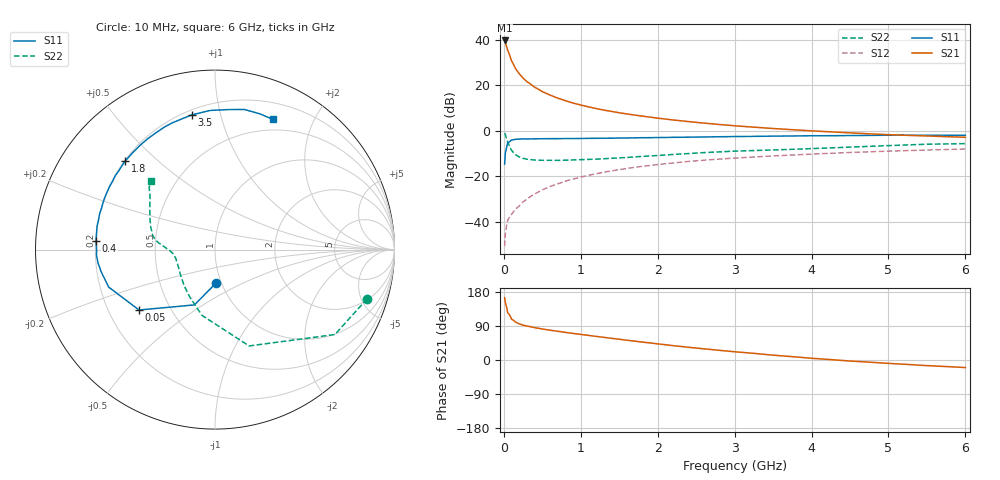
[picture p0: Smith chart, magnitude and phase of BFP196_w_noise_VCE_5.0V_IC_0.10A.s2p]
! Infineon Technologies  Discrete & RF Semiconductors
! BFP196
! VCE =  5.0 V,  IC = 0.10 A
! Common Emitter S-Parameters:  Jan 2017
# GHz  S  MA  R  50
!  f  S11  S21  S12  S22
! GHz  MAG  ANG  MAG  ANG  MAG  ANG  MAG  ANG
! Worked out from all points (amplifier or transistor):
!   77 points, 10 MHz to 6 GHz, reference 50 ohm
!   highest |S21| = 39.7 dB at 10 MHz (marker M1)
!   |S21| within 3 dB of that: start of sweep to 38.62 MHz
!   unconditionally stable (mu >= 1): 385.8 MHz to 2.395 GHz
!   at 130 MHz: K = 0.76, MSG = 32.1 dB, |S12| = -35.4 dB
!   at 2.2 GHz: K = 1.01, MAG = 8.9 dB, |S12| = -14.2 dB
!   at 6 GHz: K = 0.95, MSG = 2.6 dB, |S12| = -8.0 dB
!   lowest NFmin = 2.04 dB at 450 MHz
!   S11 on the Smith chart (normalised r, x): 10 MHz: 0.95, -0.36; 50 MHz: 0.33, -0.31; 400 MHz: 0.20, +0.04; 1.8 GHz: 0.20, +0.39; 3.5 GHz: 0.23, +0.82; 6 GHz: 0.37, +1.47
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0.01  0.1858 -88.0  96.53 164.3  0.0029 74.5  0.8911 -17.9
0.02  0.3287 -110.4  88.55 150.9  0.0054 71.5  0.8186 -35.3
0.05  0.5406 -141.5  58.85 124.9  0.0108 55.2  0.5694 -70.5
0.1  0.6278 -160.5  34.25 107.7  0.0145 59.2  0.3736 -101.2
0.15  0.6462 -169.0  23.55 100.3  0.0187 60.9  0.2981 -118.4
0.2  0.6559 -173.5  17.86 95.5  0.0222 66.1  0.2653 -130.2
0.25  0.6611 -177.2  14.37 92.0  0.0273 67.6  0.2469 -138.3
0.3  0.6594 -179.8  12.01 89.6  0.0315 68.1  0.2368 -144.7
0.4  0.6642 175.7  9.073 85.3  0.0406 70.1  0.2269 -152.9
0.5  0.6664 171.9  7.262 81.8  0.0498 70.5  0.2239 -158.6
0.6  0.67 168.7  6.083 78.6  0.0596 70.1  0.2241 -162.8
0.7  0.6695 165.8  5.217 75.9  0.0679 70.7  0.2228 -166.2
0.9  0.6729 159.8  4.061 70.1  0.0865 68.4  0.2282 -170.3
1.1  0.6794 154.3  3.352 65.0  0.1049 66.3  0.2341 -173.9
1.4  0.6858 146.2  2.658 57.2  0.1311 62.3  0.2479 -177.8
1.8  0.7026 135.5  2.098 47.2  0.165 56.7  0.273 178.2
2.1  0.7115 127.9  1.807 40.3  0.1879 52.2  0.2933 175.5
3.1  0.7471 106.9  1.25 20.1  0.2558 38.1  0.3602 165.8
3.5  0.7617 99.8  1.119 12.7  0.2795 33.3  0.3786 160.9
4.1  0.7764 90.4  0.974 3.2  0.3115 25.7  0.4106 152.1
5.1  0.7967 76.8  0.808 -10.0  0.3599 13.9  0.4776 139.5
6  0.7939 66.1  0.717 -20.0  0.3968 4.0  0.5207 132.9
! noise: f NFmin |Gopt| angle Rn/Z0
0.45  2.04  0.54  -169  0.07
0.9  2.24  0.56  -156  0.12
1.9  3.18  0.71  -128  0.52
2.4  3.65  0.7  -115  1.08
